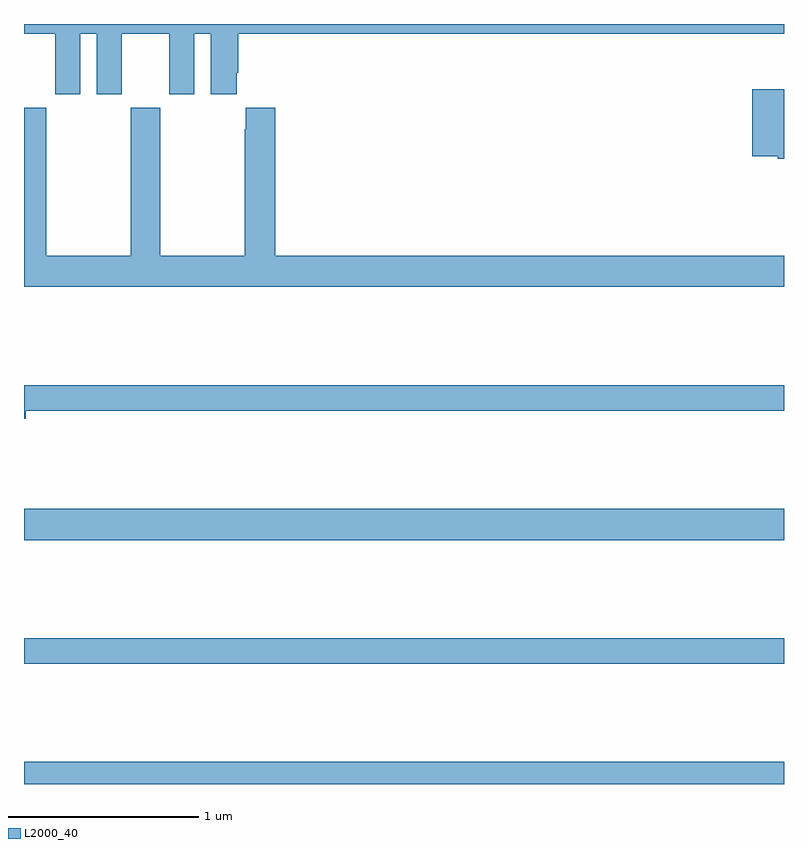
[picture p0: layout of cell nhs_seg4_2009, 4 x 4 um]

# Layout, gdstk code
import gdstk
lib = gdstk.Library(unit=1e-6, precision=1e-09)
def R(c, l, rs):  # rectangles x0, y0, x1, y1
    for r in rs: c.add(gdstk.rectangle(r[:2], r[2:], *l))
def P(c, l, *ps):  # polygons
    for p in ps: c.add(gdstk.Polygon(p, *l))
L2000_40 = (2000, 40)

nhs_seg4_2009 = lib.new_cell('nhs_seg4_2009')
R(nhs_seg4_2009, L2000_40, [(215,764.9,219,765.016), (215,765.532,219,765.668), (215,766.184,219,766.348)])
P(nhs_seg4_2009, L2000_40, [(215.296,768.848),(215.384,768.848),(215.384,768.531),(215.515,768.531),(215.515,768.848),(215.765,768.848),(215.765,768.531),(215.896,768.531),(215.896,768.848),(215.984,768.848),(215.984,768.531),(216.121,768.531),(216.121,768.643),(216.128,768.643),(216.128,768.848),(219,768.848),(219,768.9),(215,768.9),(215,768.848),(215.165,768.848),(215.165,768.531),(215.296,768.531)],
  [(219,768.556),(218.834,768.556),(218.834,768.203),(218.967,768.203),(218.967,768.191),(219,768.191)],
  [(219,767.68),(216.323,767.68),(216.323,768.46),(216.167,768.46),(216.167,768.347),(216.163,768.347),(216.163,767.68),(215.718,767.68),(215.718,768.46),(215.563,768.46),(215.563,767.68),(215.118,767.68),(215.118,768.46),(215,768.46),(215,767.516),(219,767.516)],
  [(215.008,766.864),(219,766.864),(219,767),(215,767),(215,766.822),(215.008,766.822)])

lib.write_gds('nhs_seg4_2009.gds')
